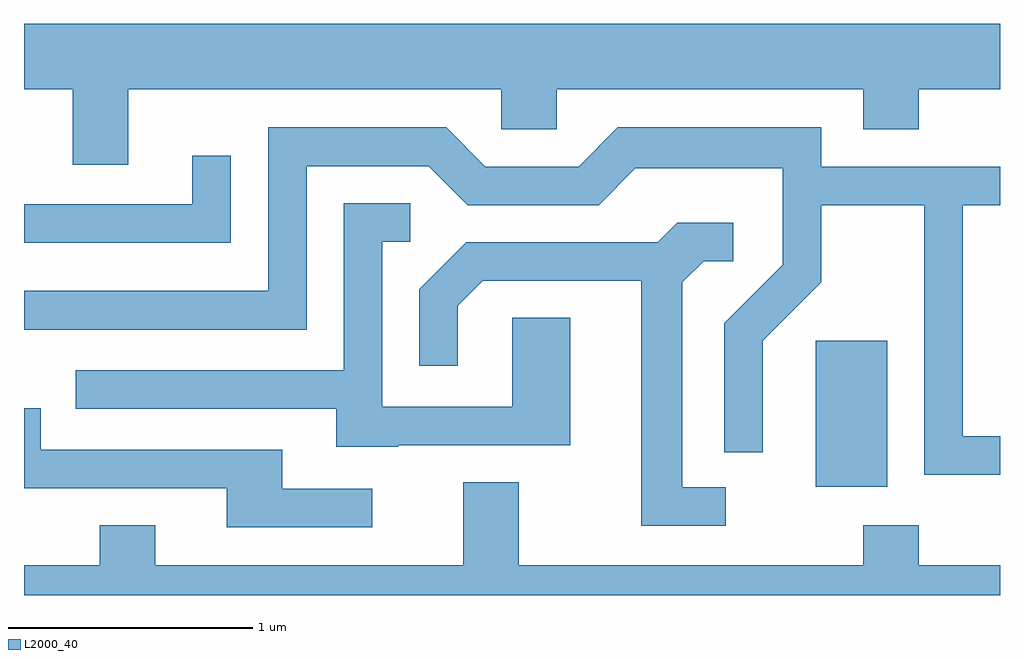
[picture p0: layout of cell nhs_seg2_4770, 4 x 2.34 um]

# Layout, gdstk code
import gdstk
lib = gdstk.Library(unit=1e-6, precision=1e-09)
def R(c, l, rs):  # rectangles x0, y0, x1, y1
    for r in rs: c.add(gdstk.rectangle(r[:2], r[2:], *l))
def P(c, l, *ps):  # polygons
    for p in ps: c.add(gdstk.Polygon(p, *l))
L2000_40 = (2000, 40)

nhs_seg2_4770 = lib.new_cell('nhs_seg2_4770')
R(nhs_seg2_4770, L2000_40, [(328.856,1042.246,329.149,1042.844)])
P(nhs_seg2_4770, L2000_40, [(325.611,1043.876),(325.811,1043.876),(325.811,1043.566),(326.039,1043.566),(326.039,1043.876),(327.566,1043.876),(327.566,1043.711),(327.794,1043.711),(327.794,1043.876),(329.051,1043.876),(329.051,1043.711),(329.279,1043.711),(329.279,1043.876),(329.611,1043.876),(329.611,1044.144),(325.611,1044.144)],
  [(329.611,1042.454),(329.459,1042.454),(329.459,1043.401),(329.611,1043.401),(329.611,1043.559),(328.879,1043.559),(328.879,1043.719),(328.044,1043.719),(327.884,1043.559),(327.502,1043.559),(327.342,1043.719),(326.611,1043.719),(326.611,1043.049),(325.611,1043.049),(325.611,1042.891),(326.769,1042.891),(326.769,1043.561),(327.269,1043.561),(327.429,1043.401),(327.967,1043.401),(328.117,1043.551),(328.721,1043.551),(328.721,1043.157),(328.481,1042.917),(328.481,1042.388),(328.639,1042.388),(328.639,1042.844),(328.879,1043.084),(328.879,1043.401),(329.301,1043.401),(329.301,1042.296),(329.611,1042.296)],
  [(326.459,1043.603),(326.301,1043.603),(326.301,1043.404),(325.611,1043.404),(325.611,1043.246),(326.459,1043.246)],
  [(327.145,1042.416),(327.849,1042.416),(327.849,1042.939),(327.611,1042.939),(327.611,1042.574),(327.079,1042.574),(327.079,1043.251),(327.193,1043.251),(327.193,1043.409),(326.921,1043.409),(326.921,1042.724),(325.823,1042.724),(325.823,1042.566),(326.891,1042.566),(326.891,1042.411),(327.145,1042.411)],
  [(328.488,1042.244),(328.309,1042.244),(328.309,1043.084),(328.397,1043.171),(328.518,1043.171),(328.518,1043.329),(328.289,1043.329),(328.209,1043.249),(327.424,1043.249),(327.231,1043.056),(327.231,1042.743),(327.389,1042.743),(327.389,1042.988),(327.492,1043.091),(328.141,1043.091),(328.141,1042.086),(328.488,1042.086)],
  [(327.038,1042.239),(326.669,1042.239),(326.669,1042.399),(325.679,1042.399),(325.679,1042.569),(325.611,1042.569),(325.611,1042.241),(326.441,1042.241),(326.441,1042.081),(327.038,1042.081)],
  [(329.611,1041.924),(329.279,1041.924),(329.279,1042.089),(329.051,1042.089),(329.051,1041.924),(327.639,1041.924),(327.639,1042.264),(327.411,1042.264),(327.411,1041.924),(326.149,1041.924),(326.149,1042.089),(325.921,1042.089),(325.921,1041.924),(325.611,1041.924),(325.611,1041.802),(329.611,1041.802)])

lib.write_gds('nhs_seg2_4770.gds')
